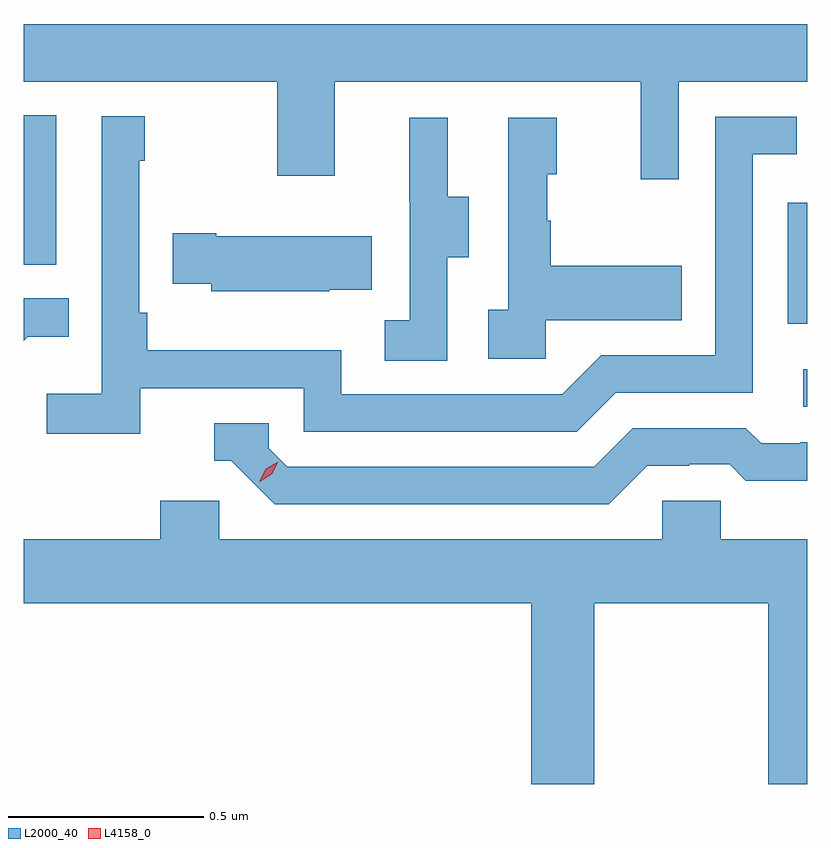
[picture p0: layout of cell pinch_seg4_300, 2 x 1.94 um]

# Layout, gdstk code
import gdstk
lib = gdstk.Library(unit=1e-6, precision=1e-09)
def R(c, l, rs):  # rectangles x0, y0, x1, y1
    for r in rs: c.add(gdstk.rectangle(r[:2], r[2:], *l))
def P(c, l, *ps):  # polygons
    for p in ps: c.add(gdstk.Polygon(p, *l))
L2000_40 = (2000, 40)
L4158_0 = (4158, 0)

pinch_seg4_300 = lib.new_cell('pinch_seg4_300')
R(pinch_seg4_300, L2000_40, [(927.519,794.658,927.529,794.754), (927.48,794.871,927.529,795.18), (925.529,795.021,925.612,795.403)])
P(pinch_seg4_300, L2000_40, [(927.201,795.488),(927.529,795.488),(927.529,795.636),(925.529,795.636),(925.529,795.488),(926.176,795.488),(926.176,795.249),(926.323,795.249),(926.323,795.488),(927.104,795.488),(927.104,795.24),(927.201,795.24)],
  [(925.826,794.706),(926.244,794.706),(926.244,794.595),(926.941,794.595),(927.04,794.694),(927.39,794.694),(927.39,795.303),(927.503,795.303),(927.503,795.399),(927.294,795.399),(927.294,794.79),(927.003,794.79),(926.904,794.691),(926.34,794.691),(926.34,794.803),(925.844,794.803),(925.844,794.899),(925.824,794.899),(925.824,795.287),(925.837,795.287),(925.837,795.4),(925.728,795.4),(925.728,794.692),(925.587,794.692),(925.587,794.59),(925.826,794.59)],
  [(926.862,794.879),(927.209,794.879),(927.209,795.019),(926.875,795.019),(926.875,795.134),(926.865,795.134),(926.865,795.252),(926.89,795.252),(926.89,795.397),(926.766,795.397),(926.766,794.906),(926.715,794.906),(926.715,794.781),(926.862,794.781)],
  [(926.61,795.04),(926.665,795.04),(926.665,795.195),(926.611,795.195),(926.611,795.397),(926.513,795.397),(926.513,795.183),(926.514,795.183),(926.514,794.879),(926.451,794.879),(926.451,794.776),(926.61,794.776)],
  [(926.309,794.957),(926.417,794.957),(926.417,795.094),(926.02,795.094),(926.02,795.102),(925.909,795.102),(925.909,794.972),(926.007,794.972),(926.007,794.954),(926.309,794.954)],
  [(925.539,794.837),(925.643,794.837),(925.643,794.936),(925.529,794.936),(925.529,794.827)],
  [(927.121,794.508),(927.228,794.508),(927.228,794.511),(927.331,794.511),(927.373,794.469),(927.529,794.469),(927.529,794.568),(927.511,794.568),(927.511,794.565),(927.412,794.565),(927.373,794.604),(927.084,794.604),(926.985,794.505),(926.202,794.505),(926.154,794.553),(926.154,794.616),(926.015,794.616),(926.015,794.52),(926.058,794.52),(926.169,794.409),(927.022,794.409)],
  [(926.985,794.156),(927.43,794.156),(927.43,793.695),(927.529,793.695),(927.529,794.32),(927.309,794.32),(927.309,794.418),(927.159,794.418),(927.159,794.32),(926.028,794.32),(926.028,794.418),(925.877,794.418),(925.877,794.32),(925.529,794.32),(925.529,794.156),(926.825,794.156),(926.825,793.695),(926.985,793.695)])
P(pinch_seg4_300, L4158_0, [(926.131,794.467),(926.131,794.468),(926.147,794.5),(926.179,794.518),(926.179,794.518),(926.179,794.518),(926.162,794.486),(926.131,794.467)])

lib.write_gds('pinch_seg4_300.gds')
